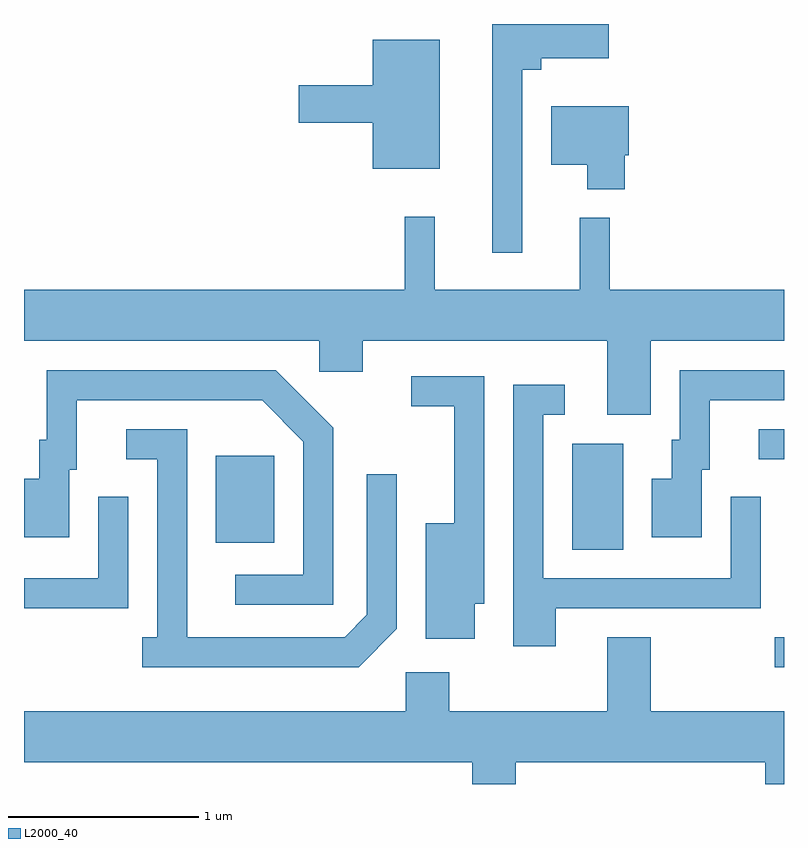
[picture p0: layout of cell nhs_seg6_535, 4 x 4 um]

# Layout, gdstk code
import gdstk
lib = gdstk.Library(unit=1e-6, precision=1e-09)
def R(c, l, rs):  # rectangles x0, y0, x1, y1
    for r in rs: c.add(gdstk.rectangle(r[:2], r[2:], *l))
def P(c, l, *ps):  # polygons
    for p in ps: c.add(gdstk.Polygon(p, *l))
L2000_40 = (2000, 40)

nhs_seg6_535 = lib.new_cell('nhs_seg6_535')
R(nhs_seg6_535, L2000_40, [(205.563,1532.776,205.611,1532.934), (204.496,1533.396,204.764,1533.954), (202.621,1533.431,202.929,1533.889), (205.478,1533.871,205.611,1534.029)])
P(nhs_seg6_535, L2000_40, [(204.234,1535.921),(204.334,1535.921),(204.334,1535.981),(204.689,1535.981),(204.689,1536.162),(204.076,1536.162),(204.076,1534.958),(204.234,1534.958)],
  [(203.799,1536.079),(203.446,1536.079),(203.446,1535.839),(203.056,1535.839),(203.056,1535.641),(203.446,1535.641),(203.446,1535.401),(203.799,1535.401)],
  [(204.774,1535.471),(204.794,1535.471),(204.794,1535.729),(204.386,1535.729),(204.386,1535.421),(204.576,1535.421),(204.576,1535.291),(204.774,1535.291)],
  [(204.909,1534.496),(205.611,1534.496),(205.611,1534.764),(204.694,1534.764),(204.694,1535.143),(204.536,1535.143),(204.536,1534.764),(203.774,1534.764),(203.774,1535.148),(203.616,1535.148),(203.616,1534.764),(201.611,1534.764),(201.611,1534.496),(203.166,1534.496),(203.166,1534.331),(203.394,1534.331),(203.394,1534.496),(204.681,1534.496),(204.681,1534.106),(204.909,1534.106)],
  [(205.179,1533.816),(205.219,1533.816),(205.219,1534.181),(205.611,1534.181),(205.611,1534.339),(205.061,1534.339),(205.061,1533.974),(205.021,1533.974),(205.021,1533.769),(204.916,1533.769),(204.916,1533.461),(205.179,1533.461)],
  [(203.239,1534.037),(202.937,1534.339),(201.731,1534.339),(201.731,1533.974),(201.691,1533.974),(201.691,1533.769),(201.611,1533.769),(201.611,1533.461),(201.849,1533.461),(201.849,1533.816),(201.889,1533.816),(201.889,1534.181),(202.864,1534.181),(203.081,1533.964),(203.081,1533.264),(202.723,1533.264),(202.723,1533.106),(203.239,1533.106)],
  [(203.984,1533.111),(204.034,1533.111),(204.034,1534.309),(203.648,1534.309),(203.648,1534.151),(203.876,1534.151),(203.876,1533.534),(203.726,1533.534),(203.726,1532.926),(203.984,1532.926)],
  [(204.409,1533.086),(205.489,1533.086),(205.489,1533.673),(205.331,1533.673),(205.331,1533.244),(204.344,1533.244),(204.344,1534.106),(204.458,1534.106),(204.458,1534.264),(204.186,1534.264),(204.186,1532.886),(204.409,1532.886)],
  [(203.574,1532.979),(203.574,1533.793),(203.416,1533.793),(203.416,1533.052),(203.299,1532.934),(202.469,1532.934),(202.469,1534.029),(202.148,1534.029),(202.148,1533.871),(202.311,1533.871),(202.311,1532.934),(202.233,1532.934),(202.233,1532.776),(203.372,1532.776)],
  [(202.159,1533.673),(202.001,1533.673),(202.001,1533.244),(201.611,1533.244),(201.611,1533.086),(202.159,1533.086)],
  [(204.199,1532.276),(205.511,1532.276),(205.511,1532.162),(205.611,1532.162),(205.611,1532.544),(204.909,1532.544),(204.909,1532.934),(204.681,1532.934),(204.681,1532.544),(203.849,1532.544),(203.849,1532.749),(203.621,1532.749),(203.621,1532.544),(201.611,1532.544),(201.611,1532.276),(203.971,1532.276),(203.971,1532.162),(204.199,1532.162)])

lib.write_gds('nhs_seg6_535.gds')
